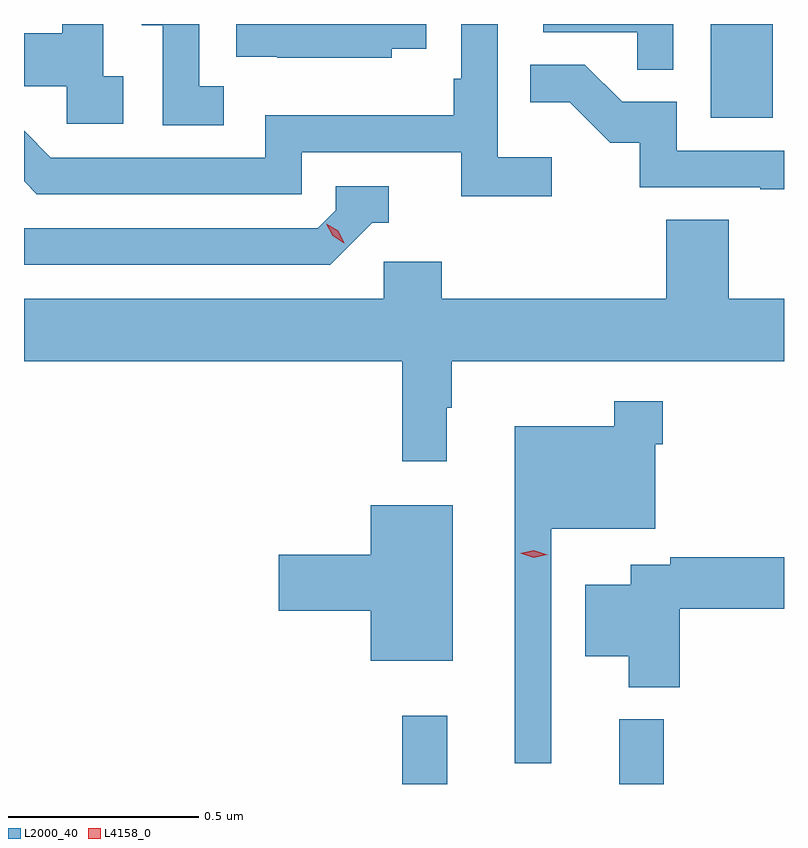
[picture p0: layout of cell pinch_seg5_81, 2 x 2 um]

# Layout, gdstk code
import gdstk
lib = gdstk.Library(unit=1e-6, precision=1e-09)
def R(c, l, rs):  # rectangles x0, y0, x1, y1
    for r in rs: c.add(gdstk.rectangle(r[:2], r[2:], *l))
def P(c, l, *ps):  # polygons
    for p in ps: c.add(gdstk.Polygon(p, *l))
L2000_40 = (2000, 40)
L4158_0 = (4158, 0)

pinch_seg5_81 = lib.new_cell('pinch_seg5_81')
R(pinch_seg5_81, L2000_40, [(1038.121,907.595,1038.239,907.774), (1038.692,907.595,1038.809,907.765), (1038.932,909.348,1039.096,909.595)])
P(pinch_seg5_81, L2000_40, [(1038.514,909.244),(1038.372,909.244),(1038.372,909.595),(1038.276,909.595),(1038.276,909.451),(1038.256,909.451),(1038.256,909.355),(1037.76,909.355),(1037.76,909.243),(1037.196,909.243),(1037.125,909.314),(1037.125,909.181),(1037.159,909.147),(1037.856,909.147),(1037.856,909.258),(1038.275,909.258),(1038.275,909.142),(1038.514,909.142)],
  [(1037.386,909.458),(1037.334,909.458),(1037.334,909.595),(1037.226,909.595),(1037.226,909.571),(1037.125,909.571),(1037.125,909.431),(1037.238,909.431),(1037.238,909.333),(1037.386,909.333)],
  [(1037.65,909.431),(1037.586,909.431),(1037.586,909.595),(1037.435,909.595),(1037.435,909.592),(1037.49,909.592),(1037.49,909.328),(1037.65,909.328)],
  [(1038.834,909.595),(1038.47,909.595),(1038.47,909.594),(1038.492,909.594),(1038.492,909.573),(1038.739,909.573),(1038.739,909.475),(1038.834,909.475)],
  [(1038.093,909.53),(1038.184,909.53),(1038.184,909.595),(1037.683,909.595),(1037.683,909.509),(1037.791,909.509),(1037.791,909.506),(1038.093,909.506)],
  [(1039.125,909.261),(1038.843,909.261),(1038.843,909.39),(1038.699,909.39),(1038.601,909.488),(1038.457,909.488),(1038.457,909.389),(1038.561,909.389),(1038.668,909.282),(1038.745,909.282),(1038.745,909.165),(1039.063,909.165),(1039.063,909.16),(1039.125,909.16)],
  [(1038.042,909.072),(1038.085,909.072),(1038.085,909.168),(1037.946,909.168),(1037.946,909.105),(1037.898,909.057),(1037.125,909.057),(1037.125,908.961),(1037.931,908.961)],
  [(1038.238,908.585),(1038.25,908.585),(1038.25,908.708),(1039.125,908.708),(1039.125,908.872),(1038.98,908.872),(1038.98,909.08),(1038.815,909.08),(1038.815,908.872),(1038.224,908.872),(1038.224,908.97),(1038.072,908.97),(1038.072,908.872),(1037.125,908.872),(1037.125,908.708),(1038.121,908.708),(1038.121,908.445),(1038.238,908.445)],
  [(1038.513,908.267),(1038.786,908.267),(1038.786,908.489),(1038.806,908.489),(1038.806,908.602),(1038.678,908.602),(1038.678,908.536),(1038.416,908.536),(1038.416,907.65),(1038.513,907.65)],
  [(1038.253,908.329),(1038.038,908.329),(1038.038,908.198),(1037.796,908.198),(1037.796,908.051),(1038.038,908.051),(1038.038,907.919),(1038.253,907.919)],
  [(1038.851,908.056),(1039.125,908.056),(1039.125,908.192),(1038.826,908.192),(1038.826,908.172),(1038.722,908.172),(1038.722,908.119),(1038.602,908.119),(1038.602,907.931),(1038.716,907.931),(1038.716,907.85),(1038.851,907.85)])
P(pinch_seg5_81, L4158_0, [(1037.968,909.018),(1037.937,909.038),(1037.921,909.07),(1037.921,909.07),(1037.921,909.07),(1037.952,909.051),(1037.968,909.019),(1037.968,909.018)],
  [(1038.466,908.19),(1038.431,908.202),(1038.43,908.202),(1038.431,908.202),(1038.467,908.21),(1038.502,908.198),(1038.503,908.198),(1038.502,908.198)])

lib.write_gds('pinch_seg5_81.gds')
